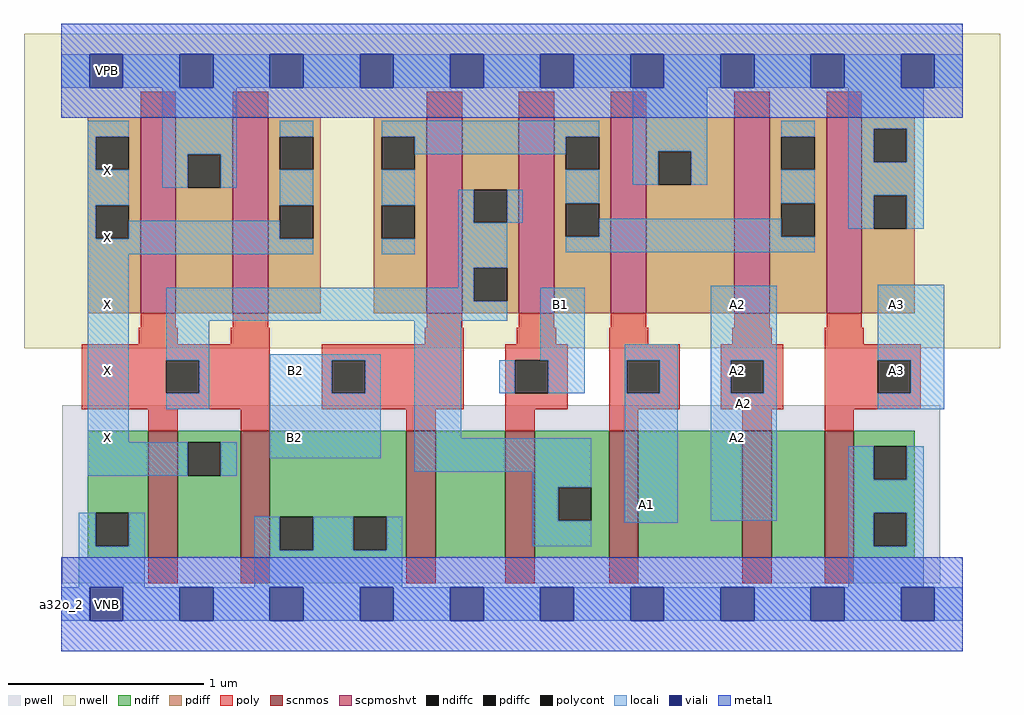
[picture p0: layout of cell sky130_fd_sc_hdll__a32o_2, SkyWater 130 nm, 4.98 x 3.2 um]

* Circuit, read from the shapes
.subckt sky130_fd_sc_hdll__a32o_2 A1 A2 A3 B1 B2 VGND VNB VPB VPWR X
XM1 X n1 VGND VNB sky130_fd_pr__nfet_01v8 w=0.65 l=0.15 m=2
XM2 n2 B2 VGND VNB sky130_fd_pr__nfet_01v8 w=0.65 l=0.15
XM3 n1 B1 n2 VNB sky130_fd_pr__nfet_01v8 w=0.65 l=0.15
XM4 n3 A1 n1 VNB sky130_fd_pr__nfet_01v8 w=0.65 l=0.15
XM5 n4 A2 n3 VNB sky130_fd_pr__nfet_01v8 w=0.65 l=0.15
XM6 VGND A3 n4 VNB sky130_fd_pr__nfet_01v8 w=0.65 l=0.15
XM7 VPWR n1 X VPB sky130_fd_pr__pfet_01v8_hvt w=1 l=0.18 m=2
XM8 n1 B2 n5 VPB sky130_fd_pr__pfet_01v8_hvt w=1 l=0.18
XM9 n5 B1 n1 VPB sky130_fd_pr__pfet_01v8_hvt w=1 l=0.18
XM10 VPWR A1 n5 VPB sky130_fd_pr__pfet_01v8_hvt w=1 l=0.18
XM11 n5 A2 VPWR VPB sky130_fd_pr__pfet_01v8_hvt w=1 l=0.18
XM12 VPWR A3 n5 VPB sky130_fd_pr__pfet_01v8_hvt w=1 l=0.18
.ends

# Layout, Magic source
magic
tech sky130A
magscale 1 2
<< nwell >>
rect -38 261 958 582
<< pwell >>
rect 1 21 897 203
rect 30 -17 64 21
<< scnmos >>
rect 89 47 119 177
rect 183 47 213 177
rect 352 47 382 177
rect 453 47 483 177
rect 559 47 589 177
rect 695 47 725 177
rect 779 47 809 177
<< scpmoshvt >>
rect 81 297 117 497
rect 175 297 211 497
rect 373 297 409 497
rect 467 297 503 497
rect 561 297 597 497
rect 687 297 723 497
rect 781 297 817 497
<< ndiff >>
rect 27 93 89 177
rect 27 59 35 93
rect 69 59 89 93
rect 27 47 89 59
rect 119 165 183 177
rect 119 131 129 165
rect 163 131 183 165
rect 119 47 183 131
rect 213 89 352 177
rect 213 55 223 89
rect 257 55 298 89
rect 332 55 352 89
rect 213 47 352 55
rect 382 47 453 177
rect 483 119 559 177
rect 483 85 507 119
rect 541 85 559 119
rect 483 47 559 85
rect 589 47 695 177
rect 725 47 779 177
rect 809 161 871 177
rect 809 127 829 161
rect 863 127 871 161
rect 809 93 871 127
rect 809 59 829 93
rect 863 59 871 93
rect 809 47 871 59
<< pdiff >>
rect 27 477 81 497
rect 27 443 35 477
rect 69 443 81 477
rect 27 407 81 443
rect 27 373 35 407
rect 69 373 81 407
rect 27 297 81 373
rect 117 459 175 497
rect 117 425 129 459
rect 163 425 175 459
rect 117 297 175 425
rect 211 477 265 497
rect 211 443 223 477
rect 257 443 265 477
rect 211 407 265 443
rect 211 373 223 407
rect 257 373 265 407
rect 211 297 265 373
rect 319 477 373 497
rect 319 443 327 477
rect 361 443 373 477
rect 319 407 373 443
rect 319 373 327 407
rect 361 373 373 407
rect 319 297 373 373
rect 409 423 467 497
rect 409 389 421 423
rect 455 389 467 423
rect 409 343 467 389
rect 409 309 421 343
rect 455 309 467 343
rect 409 297 467 309
rect 503 477 561 497
rect 503 443 515 477
rect 549 443 561 477
rect 503 409 561 443
rect 503 375 515 409
rect 549 375 561 409
rect 503 297 561 375
rect 597 462 687 497
rect 597 428 609 462
rect 643 428 687 462
rect 597 297 687 428
rect 723 477 781 497
rect 723 443 735 477
rect 769 443 781 477
rect 723 409 781 443
rect 723 375 735 409
rect 769 375 781 409
rect 723 297 781 375
rect 817 485 871 497
rect 817 451 829 485
rect 863 451 871 485
rect 817 417 871 451
rect 817 383 829 417
rect 863 383 871 417
rect 817 297 871 383
<< ndiffc >>
rect 35 59 69 93
rect 129 131 163 165
rect 223 55 257 89
rect 298 55 332 89
rect 507 85 541 119
rect 829 127 863 161
rect 829 59 863 93
<< pdiffc >>
rect 35 443 69 477
rect 35 373 69 407
rect 129 425 163 459
rect 223 443 257 477
rect 223 373 257 407
rect 327 443 361 477
rect 327 373 361 407
rect 421 389 455 423
rect 421 309 455 343
rect 515 443 549 477
rect 515 375 549 409
rect 609 428 643 462
rect 735 443 769 477
rect 735 375 769 409
rect 829 451 863 485
rect 829 383 863 417
<< poly >>
rect 81 497 117 523
rect 175 497 211 523
rect 373 497 409 523
rect 467 497 503 523
rect 561 497 597 523
rect 687 497 723 523
rect 781 497 817 523
rect 81 282 117 297
rect 175 282 211 297
rect 373 282 409 297
rect 467 282 503 297
rect 561 282 597 297
rect 687 282 723 297
rect 781 282 817 297
rect 79 265 119 282
rect 173 265 213 282
rect 371 265 411 282
rect 465 265 505 282
rect 559 265 599 282
rect 685 265 725 282
rect 779 265 819 282
rect 21 249 213 265
rect 21 215 107 249
rect 141 215 213 249
rect 21 199 213 215
rect 266 249 411 265
rect 266 215 276 249
rect 310 215 411 249
rect 266 199 411 215
rect 453 249 517 265
rect 453 215 463 249
rect 497 215 517 249
rect 453 199 517 215
rect 559 249 631 265
rect 559 215 577 249
rect 611 215 631 249
rect 559 199 631 215
rect 673 249 737 265
rect 673 215 683 249
rect 717 215 737 249
rect 673 199 737 215
rect 779 249 877 265
rect 779 215 833 249
rect 867 215 877 249
rect 779 199 877 215
rect 89 177 119 199
rect 183 177 213 199
rect 352 177 382 199
rect 453 177 483 199
rect 559 177 589 199
rect 695 177 725 199
rect 779 177 809 199
rect 89 21 119 47
rect 183 21 213 47
rect 352 21 382 47
rect 453 21 483 47
rect 559 21 589 47
rect 695 21 725 47
rect 779 21 809 47
<< polycont >>
rect 107 215 141 249
rect 276 215 310 249
rect 463 215 497 249
rect 577 215 611 249
rect 683 215 717 249
rect 833 215 867 249
<< locali >>
rect 0 527 29 561
rect 63 527 121 561
rect 155 527 213 561
rect 247 527 305 561
rect 339 527 397 561
rect 431 527 489 561
rect 523 527 581 561
rect 615 527 673 561
rect 707 527 765 561
rect 799 527 857 561
rect 891 527 920 561
rect 27 477 69 493
rect 27 443 35 477
rect 27 407 69 443
rect 103 459 179 527
rect 103 425 129 459
rect 163 425 179 459
rect 223 477 257 493
rect 27 373 35 407
rect 223 407 257 443
rect 69 373 223 391
rect 27 357 257 373
rect 327 477 549 493
rect 361 459 515 477
rect 327 407 361 443
rect 327 357 361 373
rect 405 389 421 423
rect 455 389 471 423
rect 515 409 549 443
rect 583 462 659 527
rect 583 428 609 462
rect 643 428 659 462
rect 735 477 769 493
rect 27 165 69 357
rect 405 343 455 389
rect 735 409 769 443
rect 549 375 735 393
rect 803 485 880 527
rect 803 451 829 485
rect 863 451 880 485
rect 803 417 880 451
rect 803 383 829 417
rect 863 383 880 417
rect 515 359 769 375
rect 405 323 421 343
rect 107 309 421 323
rect 107 289 455 309
rect 107 249 151 289
rect 141 215 151 249
rect 107 199 151 215
rect 213 249 326 255
rect 213 215 276 249
rect 310 215 326 249
rect 27 131 129 165
rect 163 131 179 165
rect 213 149 326 215
rect 360 169 408 289
rect 489 249 534 323
rect 447 215 463 249
rect 497 215 534 249
rect 575 249 629 265
rect 575 215 577 249
rect 611 215 629 249
rect 360 135 541 169
rect 481 119 541 135
rect 18 59 35 93
rect 69 59 85 93
rect 18 17 85 59
rect 197 55 223 89
rect 257 55 298 89
rect 332 55 348 89
rect 481 85 507 119
rect 481 59 541 85
rect 575 83 629 215
rect 663 249 730 325
rect 663 215 683 249
rect 717 215 730 249
rect 663 85 730 215
rect 833 249 901 326
rect 867 215 901 249
rect 833 199 901 215
rect 803 127 829 161
rect 863 127 880 161
rect 803 93 880 127
rect 803 59 829 93
rect 863 59 880 93
rect 197 17 348 55
rect 803 17 880 59
rect 0 -17 29 17
rect 63 -17 121 17
rect 155 -17 213 17
rect 247 -17 305 17
rect 339 -17 397 17
rect 431 -17 489 17
rect 523 -17 581 17
rect 615 -17 673 17
rect 707 -17 765 17
rect 799 -17 857 17
rect 891 -17 920 17
<< viali >>
rect 29 527 63 561
rect 121 527 155 561
rect 213 527 247 561
rect 305 527 339 561
rect 397 527 431 561
rect 489 527 523 561
rect 581 527 615 561
rect 673 527 707 561
rect 765 527 799 561
rect 857 527 891 561
rect 29 -17 63 17
rect 121 -17 155 17
rect 213 -17 247 17
rect 305 -17 339 17
rect 397 -17 431 17
rect 489 -17 523 17
rect 581 -17 615 17
rect 673 -17 707 17
rect 765 -17 799 17
rect 857 -17 891 17
<< metal1 >>
rect 0 561 920 592
rect 0 527 29 561
rect 63 527 121 561
rect 155 527 213 561
rect 247 527 305 561
rect 339 527 397 561
rect 431 527 489 561
rect 523 527 581 561
rect 615 527 673 561
rect 707 527 765 561
rect 799 527 857 561
rect 891 527 920 561
rect 0 496 920 527
rect 0 17 920 48
rect 0 -17 29 17
rect 63 -17 121 17
rect 155 -17 213 17
rect 247 -17 305 17
rect 339 -17 397 17
rect 431 -17 489 17
rect 523 -17 581 17
rect 615 -17 673 17
rect 707 -17 765 17
rect 799 -17 857 17
rect 891 -17 920 17
rect 0 -48 920 -17
<< labels >>
flabel locali s 221 153 255 187 0 FreeSans 200 0 0 0 B2
port 5 nsew signal input
flabel locali s 30 289 64 323 0 FreeSans 200 0 0 0 X
port 10 nsew signal output
flabel locali s 663 85 730 325 0 FreeSans 200 0 0 0 A2
port 2 nsew signal input
flabel locali s 690 170 690 170 0 FreeSans 200 0 0 0 A2
port 2 nsew
flabel locali s 835 289 869 323 0 FreeSans 200 0 0 0 A3
port 3 nsew signal input
flabel locali s 690 238 690 238 0 FreeSans 200 0 0 0 A2
port 2 nsew
flabel locali s 690 306 690 306 0 FreeSans 200 0 0 0 A2
port 2 nsew
flabel locali s 835 221 869 255 0 FreeSans 200 0 0 0 A3
port 3 nsew signal input
flabel locali s 580 85 614 119 0 FreeSans 200 0 0 0 A1
port 1 nsew signal input
flabel locali s 30 221 64 255 0 FreeSans 200 0 0 0 X
port 10 nsew signal output
flabel locali s 30 425 64 459 0 FreeSans 200 0 0 0 X
port 10 nsew signal output
flabel locali s 30 357 64 391 0 FreeSans 200 0 0 0 X
port 10 nsew signal output
flabel locali s 222 221 256 255 0 FreeSans 200 0 0 0 B2
port 5 nsew signal input
flabel locali s 492 289 526 323 0 FreeSans 200 0 0 0 B1
port 4 nsew signal input
flabel locali s 30 153 64 187 0 FreeSans 200 0 0 0 X
port 10 nsew signal output
flabel pwell s 30 -17 64 17 0 FreeSans 200 0 0 0 VNB
port 7 nsew ground bidirectional
flabel nwell s 30 527 64 561 0 FreeSans 200 0 0 0 VPB
port 8 nsew power bidirectional
flabel metal1 s 30 -17 64 17 0 FreeSans 200 0 0 0 VGND
port 6 nsew ground bidirectional
flabel metal1 s 30 527 64 561 0 FreeSans 200 0 0 0 VPWR
port 9 nsew power bidirectional
rlabel comment s 0 0 0 0 4 a32o_2
<< properties >>
string LEFsite unithd
string LEFclass CORE
string FIXED_BBOX 0 0 920 544
string GDS_FILE $PDKPATH/libs.ref/sky130_fd_sc_hdll/gds/sky130_fd_sc_hdll.gds
string LEFsymmetry X Y R90
string GDS_END 861686
string GDS_START 853288
string LEFproperties maskLayoutSubType "abstract" prCellType "standard" originalViewName "layout"
<< end >>
